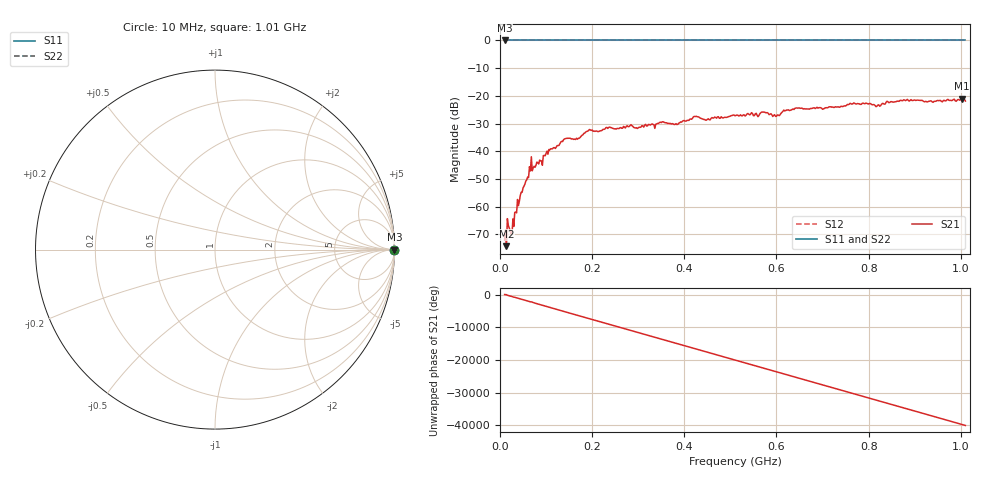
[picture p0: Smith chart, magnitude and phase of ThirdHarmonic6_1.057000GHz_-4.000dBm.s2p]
! 8/16/2025 9:24:46 AM
! C:\ANRITSUVNA\TEMP\TEMP.S2P
! CHANNEL.1
! TR.MEASUREMENT
! RAW.DATA
! RF.CORRECTION.OFF
! AVERAGING.OFF
! IF.BANDWIDTH: 5KHZ
! SWEEPTYPE:  FREQ.SWEEP(Linear)
! Reference Plane Port Info
! PORT:  PORT1  PORT2
! DISTANCE:  0  m  0  m
! TIME:  0  s  0  s
! PHASE.OFFSET:  0  deg.  0  deg.
! LOSS:  0  dB  0  dB
! REF.LOSS:  0  dB  0  dB
! REF.FREQ:  0  Hz  0  Hz
! Power Info
! POWER:  -20  dBm  -20  dBm
! EFF.POWER:  -20  dBm  -20  dBm
! SOURCE.ATTEN:  0  dB  0  dB
! TEST.ATTEN:  0  dB  0  dB
# GHZ S RI R 50.0
! FREQ.GHZ  S11RE  S11IM  S21RE  S21IM  S12RE  S12IM  S22RE  S22IM
!; PortSelection: Port_12
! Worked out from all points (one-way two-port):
!   501 points, 10 MHz to 1.01 GHz, reference 50 ohm
!   highest |S21| = -21.02 dB at 1.002 GHz (marker M1); lowest = -74.3 dB at 14 MHz (marker M2)
!   lowest |S11| = 0.0 dB at 10 MHz (marker M3)
!   |S11| at or under -10 dB: nowhere
!   |S22| runs from 0.0 to 0.0 dB; largest |S21 - S12| = 1.1
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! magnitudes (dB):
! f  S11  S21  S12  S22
! 10 MHz  0.0  -72.1  0.0  0.0
! 14 MHz  0.0  -74.3  0.0  0.0
! 20 MHz  0.0  -67.7  0.0  0.0
! 26 MHz  0.0  -70.1  0.0  0.0
! 42 MHz  0.0  -58.0  0.0  0.0
! 68 MHz  0.0  -42.0  0.0  0.0
! 74 MHz  0.0  -45.4  0.0  0.0
! 106 MHz  0.0  -39.4  0.0  0.0
! 142 MHz  0.0  -35.5  0.0  0.0
! 178 MHz  0.0  -34.2  0.0  0.0
! 196 MHz  0.0  -32.3  0.0  0.0
! 344 MHz  0.0  -30.0  0.0  0.0
! 382 MHz  0.0  -30.1  0.0  0.0
! 424 MHz  0.0  -27.4  0.0  0.0
! 510 MHz  0.0  -27.2  0.0  0.0
! 572 MHz  0.0  -25.8  0.0  0.0
! 602 MHz  0.0  -26.9  0.0  0.0
! 620 MHz  0.0  -25.3  0.0  0.0
! 678 MHz  0.0  -24.5  0.0  0.0
! 844 MHz  0.0  -22.5  0.0  0.0
! 1.002 GHz  0.0  -21.0  0.0  0.0
! 1.01 GHz  0.0  -21.9  0.0  0.0
